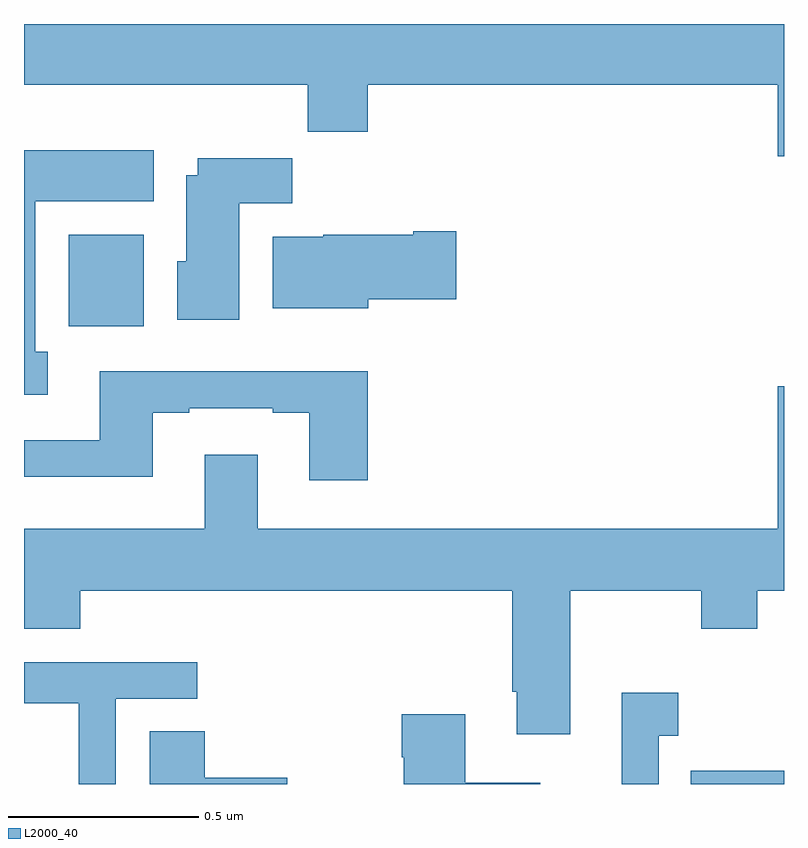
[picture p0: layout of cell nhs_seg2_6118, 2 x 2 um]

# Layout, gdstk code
import gdstk
lib = gdstk.Library(unit=1e-6, precision=1e-09)
def R(c, l, rs):  # rectangles x0, y0, x1, y1
    for r in rs: c.add(gdstk.rectangle(r[:2], r[2:], *l))
def P(c, l, *ps):  # polygons
    for p in ps: c.add(gdstk.Polygon(p, *l))
L2000_40 = (2000, 40)

nhs_seg2_6118 = lib.new_cell('nhs_seg2_6118')
R(nhs_seg2_6118, L2000_40, [(188.755,641.8,189,641.835), (187.118,643.004,187.315,643.246)])
P(nhs_seg2_6118, L2000_40, [(189,643.8),(187,643.8),(187,643.64),(187.747,643.64),(187.747,643.516),(187.904,643.516),(187.904,643.64),(188.984,643.64),(188.984,643.452),(189,643.452)],
  [(187.063,642.938),(187.03,642.938),(187.03,643.334),(187.342,643.334),(187.342,643.468),(187,643.468),(187,642.825),(187.063,642.825)],
  [(187.567,643.328),(187.706,643.328),(187.706,643.447),(187.457,643.447),(187.457,643.402),(187.427,643.402),(187.427,643.176),(187.403,643.176),(187.403,643.022),(187.567,643.022)],
  [(187.906,643.076),(188.137,643.076),(188.137,643.254),(188.024,643.254),(188.024,643.246),(187.788,643.246),(187.788,643.24),(187.655,643.24),(187.655,643.052),(187.906,643.052)],
  [(187.904,642.886),(187.199,642.886),(187.199,642.705),(187,642.705),(187,642.608),(187.339,642.608),(187.339,642.777),(187.435,642.777),(187.435,642.789),(187.655,642.789),(187.655,642.777),(187.751,642.777),(187.751,642.6),(187.904,642.6)],
  [(188.437,642.308),(188.782,642.308),(188.782,642.209),(188.929,642.209),(188.929,642.308),(189,642.308),(189,642.847),(188.984,642.847),(188.984,642.472),(187.615,642.472),(187.615,642.667),(187.475,642.667),(187.475,642.472),(187,642.472),(187,642.209),(187.148,642.209),(187.148,642.308),(188.285,642.308),(188.285,642.043),(188.297,642.043),(188.297,641.931),(188.437,641.931)],
  [(187.242,642.024),(187.456,642.024),(187.456,642.12),(187,642.12),(187,642.012),(187.144,642.012),(187.144,641.8),(187.242,641.8)],
  [(188.67,641.927),(188.722,641.927),(188.722,642.04),(188.573,642.04),(188.573,641.8),(188.67,641.8)],
  [(188.359,641.803),(188.161,641.803),(188.161,641.983),(187.994,641.983),(187.994,641.87),(187.999,641.87),(187.999,641.8),(188.359,641.8)],
  [(187.693,641.816),(187.475,641.816),(187.475,641.939),(187.331,641.939),(187.331,641.8),(187.693,641.8)])

lib.write_gds('nhs_seg2_6118.gds')
